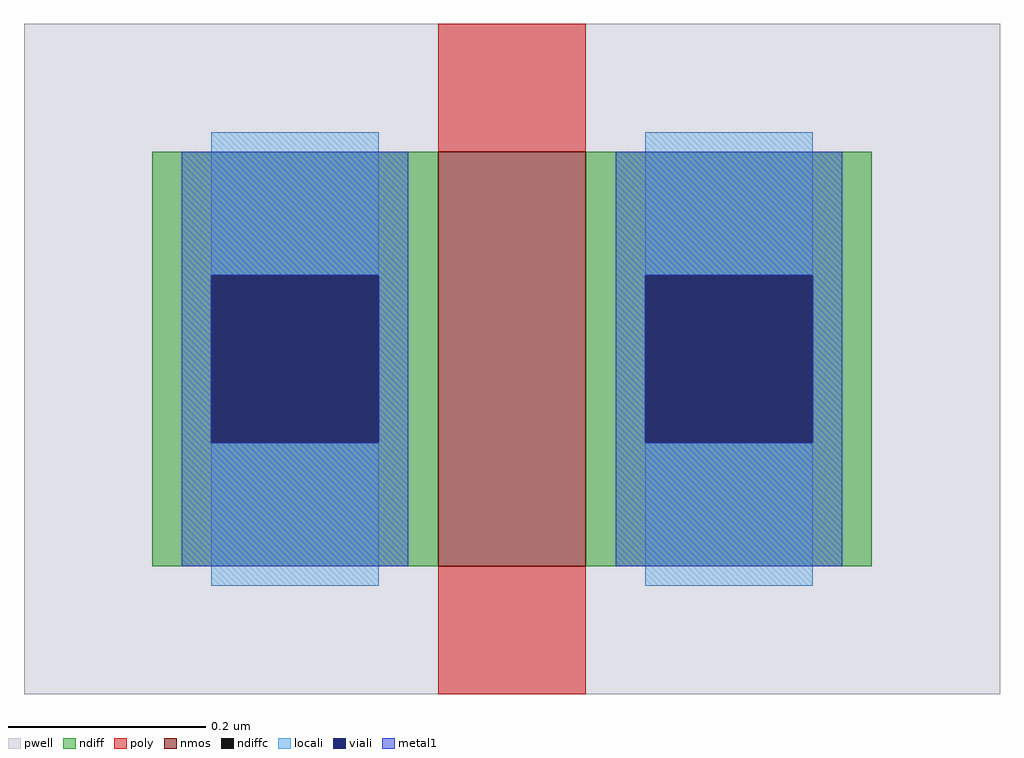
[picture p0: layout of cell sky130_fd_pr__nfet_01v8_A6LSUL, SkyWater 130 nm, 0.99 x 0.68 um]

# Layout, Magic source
magic
tech sky130A
magscale 1 2
<< pwell >>
rect -99 -68 99 68
<< nmos >>
rect -15 -42 15 42
<< ndiff >>
rect -73 17 -15 42
rect -73 -17 -61 17
rect -27 -17 -15 17
rect -73 -42 -15 -17
rect 15 17 73 42
rect 15 -17 27 17
rect 61 -17 73 17
rect 15 -42 73 -17
<< ndiffc >>
rect -61 -17 -27 17
rect 27 -17 61 17
<< poly >>
rect -15 42 15 68
rect -15 -68 15 -42
<< locali >>
rect -61 17 -27 46
rect -61 -46 -27 -17
rect 27 17 61 46
rect 27 -46 61 -17
<< viali >>
rect -61 -17 -27 17
rect 27 -17 61 17
<< metal1 >>
rect -67 17 -21 42
rect -67 -17 -61 17
rect -27 -17 -21 17
rect -67 -42 -21 -17
rect 21 17 67 42
rect 21 -17 27 17
rect 61 -17 67 17
rect 21 -42 67 -17
<< end >>
